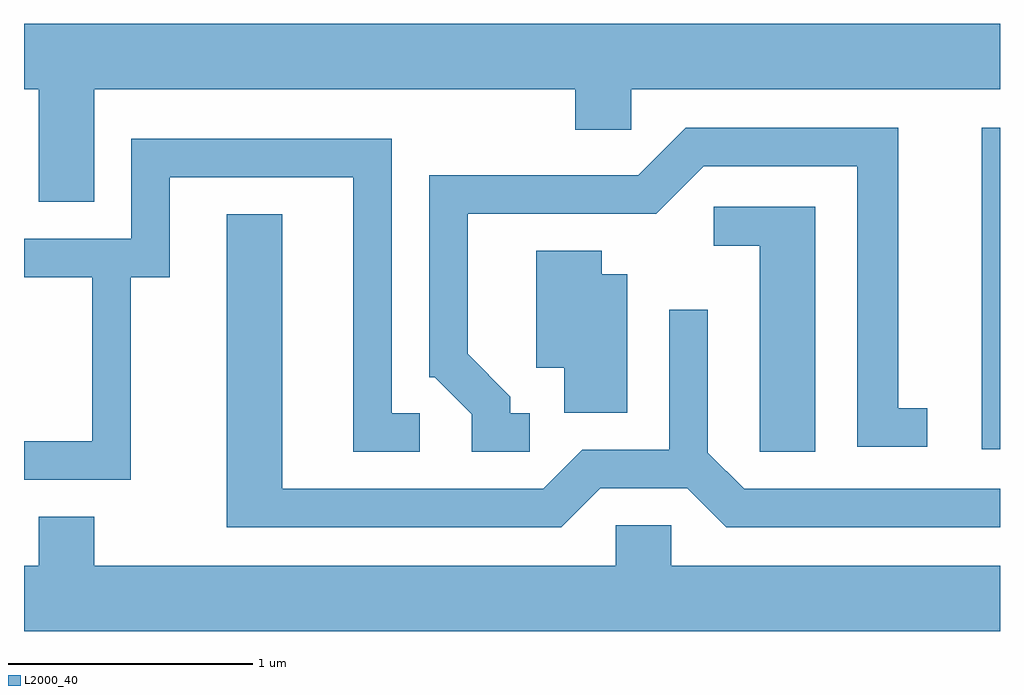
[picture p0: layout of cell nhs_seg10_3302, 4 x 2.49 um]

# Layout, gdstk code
import gdstk
lib = gdstk.Library(unit=1e-6, precision=1e-09)
def R(c, l, rs):  # rectangles x0, y0, x1, y1
    for r in rs: c.add(gdstk.rectangle(r[:2], r[2:], *l))
def P(c, l, *ps):  # polygons
    for p in ps: c.add(gdstk.Polygon(p, *l))
L2000_40 = (2000, 40)

nhs_seg10_3302 = lib.new_cell('nhs_seg10_3302')
R(nhs_seg10_3302, L2000_40, [(285.536,2187.921,285.611,2189.239)])
P(nhs_seg10_3302, L2000_40, [(281.899,2189.396),(283.871,2189.396),(283.871,2189.231),(284.099,2189.231),(284.099,2189.396),(285.611,2189.396),(285.611,2189.664),(281.611,2189.664),(281.611,2189.396),(281.671,2189.396),(281.671,2188.936),(281.899,2188.936)],
  [(283.683,2188.069),(283.604,2188.069),(283.604,2188.137),(283.429,2188.312),(283.429,2188.886),(284.202,2188.886),(284.397,2189.081),(285.026,2189.081),(285.026,2187.931),(285.313,2187.931),(285.313,2188.089),(285.194,2188.089),(285.194,2189.239),(284.324,2189.239),(284.129,2189.044),(283.271,2189.044),(283.271,2188.216),(283.294,2188.216),(283.446,2188.064),(283.446,2187.911),(283.683,2187.911)],
  [(282.049,2188.626),(282.209,2188.626),(282.209,2189.036),(282.961,2189.036),(282.961,2187.911),(283.233,2187.911),(283.233,2188.069),(283.119,2188.069),(283.119,2189.194),(282.051,2189.194),(282.051,2188.784),(281.611,2188.784),(281.611,2188.626),(281.891,2188.626),(281.891,2187.954),(281.611,2187.954),(281.611,2187.796),(282.049,2187.796)],
  [(284.854,2188.914),(284.438,2188.914),(284.438,2188.756),(284.626,2188.756),(284.626,2187.911),(284.854,2187.911)],
  [(283.972,2187.761),(284.329,2187.761),(284.489,2187.601),(285.611,2187.601),(285.611,2187.759),(284.562,2187.759),(284.414,2187.907),(284.414,2188.493),(284.256,2188.493),(284.256,2187.919),(283.899,2187.919),(283.739,2187.759),(282.669,2187.759),(282.669,2188.884),(282.441,2188.884),(282.441,2187.601),(283.812,2187.601)],
  [(284.084,2188.639),(283.979,2188.639),(283.979,2188.734),(283.711,2188.734),(283.711,2188.256),(283.826,2188.256),(283.826,2188.071),(284.084,2188.071)],
  [(285.611,2187.444),(284.264,2187.444),(284.264,2187.609),(284.036,2187.609),(284.036,2187.444),(281.899,2187.444),(281.899,2187.644),(281.671,2187.644),(281.671,2187.444),(281.611,2187.444),(281.611,2187.176),(285.611,2187.176)])

lib.write_gds('nhs_seg10_3302.gds')
